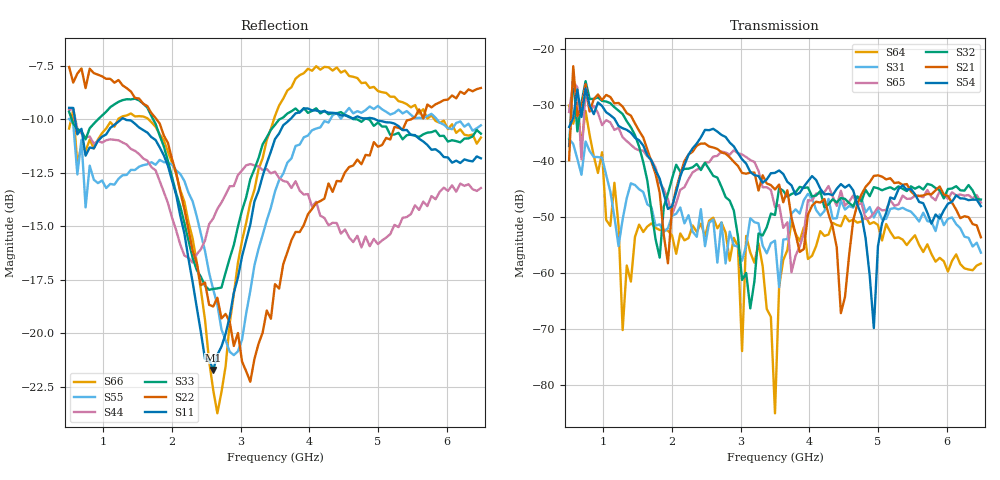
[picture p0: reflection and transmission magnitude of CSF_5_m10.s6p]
!Keysight Technologies,M9804A,MY58100912,A.14.10.03
!Date: Thursday, April 27, 2023 10:28:33
!Correction: S11(C  6-Port  )
!S12(C  6-Port  )
!S13(C  6-Port  )
!S14(C  6-Port  )
!S15(C  6-Port  )
!S16(C  6-Port  )
!S21(C  6-Port  )
!S22(C  6-Port  )
!S23(C  6-Port  )
!S24(C  6-Port  )
!S25(C  6-Port  )
!S26(C  6-Port  )
!S31(C  6-Port  )
!S32(C  6-Port  )
!S33(C  6-Port  )
!S34(C  6-Port  )
!S35(C  6-Port  )
!S36(C  6-Port  )
!S41(C  6-Port  )
!S42(C  6-Port  )
!S43(C  6-Port  )
!S44(C  6-Port  )
!S45(C  6-Port  )
!S46(C  6-Port  )
!S51(C  6-Port  )
!S52(C  6-Port  )
!S53(C  6-Port  )
!S54(C  6-Port  )
!S55(C  6-Port  )
!S56(C  6-Port  )
!S61(C  6-Port  )
!S62(C  6-Port  )
!S63(C  6-Port  )
!S64(C  6-Port  )
!S65(C  6-Port  )
!S66(C  6-Port  )
!S6P File: Measurement: :
# Hz S  RI  R 50
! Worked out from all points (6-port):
!   101 points, 500 MHz to 6.5 GHz, reference 50 ohm
!   strongest paths, dB at 500 MHz, 2 GHz, 3.5 GHz, 5 GHz, 6.5 GHz:
!     S54: -34.0, -48.2, -42.2, -55.3, -48.1
!     S21: -39.9, -48.3, -45.1, -42.6, -53.7
!     S32: -37.4, -43.2, -49.7, -44.9, -46.9
!     S65: -31.3, -49.7, -48.3, -48.3, -47.5
!     S31: -36.1, -49.8, -54.3, -48.7, -56.4
!     S64: -30.2, -53.4, -85.1, -51.5, -58.4
!   lowest |S11| = -21.7 dB at 2.6 GHz (marker M1), VSWR 1.18, Z = 42.7 + j1.97 ohm
!   |S11| at or under -10 dB: 586.2 MHz to 1.256 GHz (670.2 MHz wide, 72.7 % of centre); 1.322 GHz to 3.718 GHz (2.396 GHz wide, 95.1 % of centre); 4.966 GHz to end of sweep
